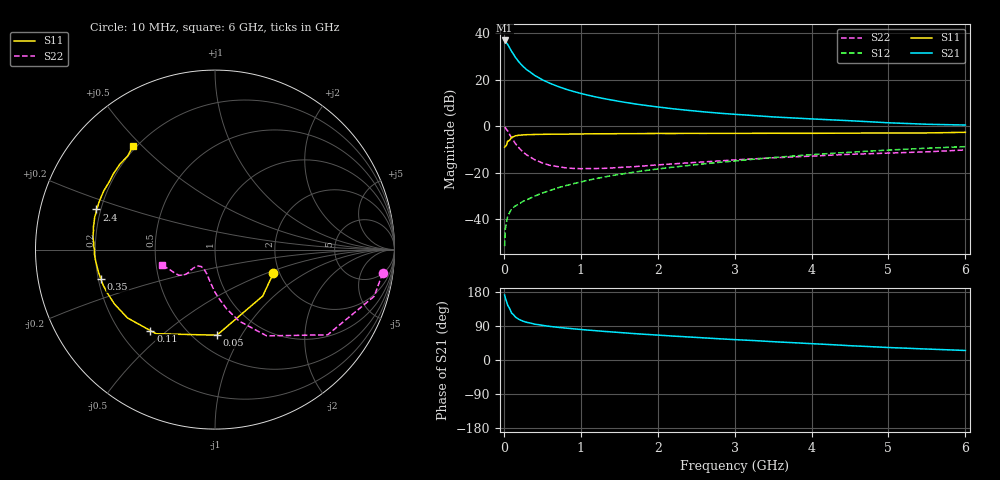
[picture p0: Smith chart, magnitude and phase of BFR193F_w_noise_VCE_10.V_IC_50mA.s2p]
! Infineon Technologies  Discrete & RF Semiconductors
! BFR193F
! VCE =  10. V,  IC =  50 mA
! Common Emitter S-Parameters:  Jan 2017
# GHz  S  MA  R  50
!  f  S11  S21  S12  S22
! GHz  MAG  ANG  MAG  ANG  MAG  ANG  MAG  ANG
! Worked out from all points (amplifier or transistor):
!   77 points, 10 MHz to 6 GHz, reference 50 ohm
!   highest |S21| = 36.9 dB at 10 MHz (marker M1)
!   |S21| within 3 dB of that: start of sweep to 72.13 MHz
!   unconditionally stable (mu >= 1): 911.1 MHz to 2.613 GHz
!   at 130 MHz: K = 0.44, MSG = 32.8 dB, |S12| = -34.9 dB
!   at 2.2 GHz: K = 1.02, MAG = 11.8 dB, |S12| = -17.7 dB
!   at 6 GHz: K = 0.84, MSG = 4.7 dB, |S12| = -8.8 dB
!   lowest NFmin = 1.48 dB at 450 MHz
!   S11 on the Smith chart (normalised r, x): 10 MHz: 1.86, -0.55; 50 MHz: 0.64, -0.79; 110 MHz: 0.32, -0.44; 350 MHz: 0.21, -0.12; 2.4 GHz: 0.18, +0.16; 6 GHz: 0.19, +0.47
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0.01  0.3509 -21.8  69.83 171.6  0.0026 79.1  0.9426 -8.0
0.02  0.371 -44.2  67.27 163.6  0.0062 76.8  0.9249 -16.3
0.05  0.4769 -88.7  57.54 144.3  0.0113 62.8  0.787 -37.1
0.1  0.5723 -125.0  40.88 124.0  0.0164 52.5  0.5603 -59.1
0.11  0.5773 -128.6  38.65 122.4  0.0169 52.1  0.5306 -61.0
0.15  0.619 -142.1  30.2 113.4  0.0191 50.8  0.4197 -71.4
0.2  0.6369 -151.6  23.61 106.8  0.0212 52.1  0.3352 -79.0
0.25  0.6474 -158.3  19.24 102.4  0.024 53.8  0.2754 -85.1
0.3  0.6542 -162.5  16.26 99.3  0.0259 56.1  0.2385 -89.9
0.35  0.6565 -165.5  14.29 97.3  0.0284 57.7  0.2134 -93.1
0.4  0.6607 -168.5  12.34 94.6  0.031 59.0  0.1891 -97.2
0.5  0.6648 -172.4  9.952 91.4  0.0362 62.4  0.1607 -103.2
0.6  0.6691 -175.3  8.344 88.6  0.0411 64.9  0.1429 -108.5
0.8  0.671 -179.9  6.281 84.3  0.0521 68.3  0.1266 -117.5
1.1  0.6816 175.0  4.605 78.8  0.0685 71.4  0.1221 -126.4
1.5  0.6878 170.2  3.408 72.6  0.0911 72.9  0.1287 -134.2
2.1  0.6941 164.0  2.472 64.5  0.1249 73.1  0.1499 -139.0
2.4  0.6972 161.3  2.18 60.8  0.1419 73.0  0.1618 -139.7
3.1  0.6988 155.5  1.751 52.8  0.1838 72.0  0.1913 -139.1
4.1  0.7006 146.8  1.403 42.1  0.2487 68.3  0.2299 -141.8
5.1  0.7119 137.1  1.162 32.1  0.3107 63.1  0.2658 -152.5
6  0.7358 128.6  1.055 25.1  0.3614 58.0  0.3067 -163.5
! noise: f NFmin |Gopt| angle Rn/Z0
0.45  1.48  0.47  -179  0.07
0.9  1.56  0.48  -178  0.08
1.9  2.14  0.6  -163  0.09
2.4  2.45  0.62  -155  0.15
